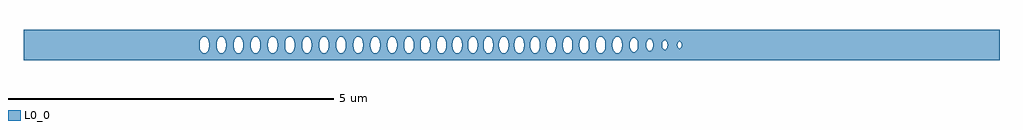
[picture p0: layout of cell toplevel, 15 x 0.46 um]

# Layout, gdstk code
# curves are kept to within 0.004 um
import gdstk
lib = gdstk.Library(unit=1e-6, precision=1e-09)
def P(c, l, *ps):  # polygons
    for p in ps: c.add(gdstk.Polygon(p, *l))
L0_0 = (0, 0)

toplevel = lib.new_cell('toplevel')
P(toplevel, L0_0, [(-4.269,0.016),(-4.263,0.056),(-4.239,0.106),(-4.209,0.128),(-4.177,0.126),(-4.177,0.231),(-7.5,0.231),(-7.5,-0.016),(-4.795,-0.016),(-4.792,0.04),(-4.781,0.077),(-4.753,0.118),(-4.726,0.13),(-4.698,0.124),(-4.67,0.095),(-4.652,0.048),(-4.648,-0.016),(-4.532,-0.016),(-4.529,0.04),(-4.518,0.077),(-4.49,0.118),(-4.463,0.13),(-4.435,0.124),(-4.411,0.101),(-4.393,0.063),(-4.384,0.008),(-4.389,-0.048),(-4.404,-0.089),(-4.427,-0.118),(-4.454,-0.13),(-4.481,-0.124),(-4.506,-0.101),(-4.521,-0.07),(-4.532,-0.016),(-4.648,-0.016),(-4.654,-0.056),(-4.67,-0.095),(-4.69,-0.118),(-4.716,-0.13),(-4.74,-0.126),(-4.765,-0.106),(-4.784,-0.07),(-4.795,-0.016),(-7.5,-0.016),(-7.5,-0.231),(-4.177,-0.231),(-4.177,-0.126),(-4.209,-0.128),(-4.243,-0.101),(-4.263,-0.056)],
  [(-4.125,-0.04),(-4.148,-0.101),(-4.177,-0.126),(-4.177,-0.231),(-3.47,-0.231),(-3.47,-0.07),(-3.481,-0.016),(-3.478,0.04),(-3.47,0.07),(-3.47,0.231),(-4.177,0.231),(-4.177,0.126),(-4.152,0.106),(-4.138,0.083),(-4.125,0.04),(-4.122,-0.008),(-4.007,-0.008),(-4.002,0.048),(-3.987,0.089),(-3.964,0.118),(-3.937,0.13),(-3.905,0.121),(-3.882,0.095),(-3.862,0.04),(-3.859,-0.008),(-3.744,-0.008),(-3.742,0.032),(-3.73,0.077),(-3.706,0.114),(-3.675,0.13),(-3.647,0.124),(-3.626,0.106),(-3.599,0.04),(-3.596,-0.016),(-3.607,-0.07),(-3.626,-0.106),(-3.647,-0.124),(-3.665,-0.13),(-3.693,-0.124),(-3.721,-0.095),(-3.737,-0.056),(-3.744,-0.008),(-3.859,-0.008),(-3.866,-0.056),(-3.882,-0.095),(-3.901,-0.118),(-3.928,-0.13),(-3.956,-0.124),(-3.98,-0.101),(-3.998,-0.063),(-4.007,-0.008),(-4.122,-0.008)],
  [(-2.955,0.016),(-2.939,0.083),(-2.925,0.106),(-2.904,0.124),(-2.886,0.13),(-2.863,0.126),(-2.838,0.106),(-2.828,0.089),(-2.828,0.231),(-3.47,0.231),(-3.47,0.07),(-3.451,0.106),(-3.43,0.124),(-3.412,0.13),(-3.384,0.124),(-3.367,0.11),(-3.347,0.077),(-3.335,0.032),(-3.334,-0.016),(-3.218,-0.016),(-3.215,0.04),(-3.204,0.077),(-3.176,0.118),(-3.149,0.13),(-3.121,0.124),(-3.097,0.101),(-3.079,0.063),(-3.07,0.008),(-3.075,-0.048),(-3.09,-0.089),(-3.113,-0.118),(-3.14,-0.13),(-3.167,-0.124),(-3.192,-0.101),(-3.207,-0.07),(-3.218,-0.016),(-3.334,-0.016),(-3.34,-0.056),(-3.356,-0.095),(-3.376,-0.118),(-3.402,-0.13),(-3.439,-0.118),(-3.47,-0.071),(-3.47,-0.231),(-2.828,-0.231),(-2.828,-0.089),(-2.85,-0.118),(-2.868,-0.128),(-2.891,-0.129),(-2.913,-0.118),(-2.936,-0.089),(-2.949,-0.056)],
  [(-2.811,-0.04),(-2.828,-0.089),(-2.828,-0.231),(-2.125,-0.231),(-2.125,-0.118),(-2.154,-0.077),(-2.168,-0.008),(-2.159,0.063),(-2.141,0.101),(-2.125,0.118),(-2.125,0.231),(-2.828,0.231),(-2.828,0.089),(-2.814,0.056),(-2.808,-0.008),(-2.693,-0.008),(-2.688,0.048),(-2.673,0.089),(-2.65,0.118),(-2.623,0.13),(-2.596,0.124),(-2.571,0.101),(-2.548,0.04),(-2.545,-0.008),(-2.43,-0.008),(-2.428,0.032),(-2.416,0.077),(-2.392,0.114),(-2.361,0.13),(-2.337,0.126),(-2.312,0.106),(-2.293,0.07),(-2.282,0.016),(-2.285,-0.04),(-2.296,-0.077),(-2.324,-0.118),(-2.351,-0.13),(-2.379,-0.124),(-2.407,-0.095),(-2.423,-0.056),(-2.43,-0.008),(-2.545,-0.008),(-2.552,-0.056),(-2.571,-0.101),(-2.591,-0.121),(-2.614,-0.13),(-2.642,-0.124),(-2.666,-0.101),(-2.684,-0.064),(-2.693,-0.008),(-2.808,-0.008)],
  [(-2.112,0.126),(-2.08,0.128),(-2.046,0.101),(-2.027,0.056),(-2.02,0),(-1.908,0),(-1.9,0.056),(-1.881,0.101),(-1.856,0.124),(-1.829,0.13),(-1.802,0.118),(-1.779,0.089),(-1.766,0.056),(-1.759,-0.008),(-1.651,-0.008),(-1.646,0.048),(-1.624,0.101),(-1.6,0.124),(-1.567,0.129),(-1.533,0.106),(-1.517,0.077),(-1.506,0.04),(-1.503,-0.016),(-1.514,-0.07),(-1.529,-0.101),(-1.554,-0.124),(-1.581,-0.13),(-1.608,-0.118),(-1.631,-0.089),(-1.646,-0.048),(-1.651,-0.008),(-1.759,-0.008),(-1.768,-0.063),(-1.786,-0.101),(-1.811,-0.124),(-1.838,-0.13),(-1.865,-0.118),(-1.891,-0.083),(-1.904,-0.04),(-1.908,0),(-2.02,0),(-2.027,-0.056),(-2.05,-0.106),(-2.066,-0.121),(-2.089,-0.13),(-2.108,-0.128),(-2.125,-0.118),(-2.125,-0.231),(-1.368,-0.231),(-1.368,-0.106),(-1.387,-0.07),(-1.398,-0.016),(-1.395,0.04),(-1.368,0.106),(-1.368,0.231),(-2.125,0.231),(-2.125,0.118)],
  [(-1.352,0.121),(-1.329,0.13),(-1.31,0.128),(-1.277,0.101),(-1.255,0.048),(-1.25,-0.008),(-1.151,-0.008),(-1.146,0.048),(-1.131,0.089),(-1.1,0.124),(-1.072,0.13),(-1.045,0.118),(-1.017,0.077),(-1.006,0.04),(-1.003,-0.016),(-0.907,-0.016),(-0.904,0.04),(-0.881,0.101),(-0.852,0.126),(-0.819,0.128),(-0.79,0.106),(-0.773,0.077),(-0.764,0.048),(-0.759,-0.008),(-0.764,-0.048),(-0.779,-0.089),(-0.802,-0.118),(-0.829,-0.13),(-0.856,-0.124),(-0.881,-0.101),(-0.896,-0.07),(-0.907,-0.016),(-1.003,-0.016),(-1.014,-0.07),(-1.029,-0.101),(-1.054,-0.124),(-1.081,-0.13),(-1.108,-0.118),(-1.131,-0.089),(-1.146,-0.048),(-1.151,-0.008),(-1.25,-0.008),(-1.264,-0.077),(-1.293,-0.118),(-1.31,-0.128),(-1.329,-0.13),(-1.352,-0.121),(-1.368,-0.106),(-1.368,-0.231),(-0.641,-0.231),(-0.641,-0.101),(-0.659,-0.063),(-0.668,-0.008),(-0.661,0.056),(-0.641,0.101),(-0.641,0.231),(-1.368,0.231),(-1.368,0.106)],
  [(-0.625,0.118),(-0.589,0.13),(-0.566,0.121),(-0.55,0.106),(-0.527,0.056),(-0.52,-0.008),(-0.43,-0.008),(-0.425,0.048),(-0.407,0.095),(-0.379,0.124),(-0.36,0.13),(-0.333,0.124),(-0.305,0.095),(-0.285,0.04),(-0.282,-0.008),(-0.193,-0.008),(-0.188,0.048),(-0.166,0.101),(-0.142,0.124),(-0.109,0.129),(-0.075,0.106),(-0.059,0.077),(-0.048,0.04),(-0.045,-0.016),(-0.056,-0.07),(-0.071,-0.101),(-0.096,-0.124),(-0.123,-0.13),(-0.15,-0.118),(-0.173,-0.089),(-0.188,-0.048),(-0.193,-0.008),(-0.282,-0.008),(-0.293,-0.07),(-0.312,-0.106),(-0.333,-0.124),(-0.36,-0.13),(-0.379,-0.124),(-0.407,-0.095),(-0.423,-0.056),(-0.43,-0.008),(-0.52,-0.008),(-0.531,-0.071),(-0.562,-0.118),(-0.58,-0.128),(-0.603,-0.129),(-0.621,-0.121),(-0.641,-0.101),(-0.641,-0.231),(0.053,-0.231),(0.053,-0.056),(0.046,-0.016),(0.053,0.056),(0.053,0.231),(-0.641,0.231),(-0.641,0.101)],
  [(0.06,0.077),(0.088,0.118),(0.115,0.13),(0.134,0.128),(0.16,0.11),(0.18,0.077),(0.194,0),(0.288,0),(0.295,0.056),(0.315,0.101),(0.344,0.126),(0.372,0.129),(0.394,0.118),(0.42,0.083),(0.43,0.056),(0.437,0),(0.43,-0.056),(0.42,-0.083),(0.394,-0.118),(0.367,-0.13),(0.34,-0.124),(0.315,-0.101),(0.295,-0.056),(0.288,0),(0.194,0),(0.18,-0.077),(0.16,-0.11),(0.134,-0.128),(0.115,-0.13),(0.088,-0.118),(0.069,-0.095),(0.053,-0.057),(0.053,-0.231),(0.629,-0.231),(0.629,-0.126),(0.597,-0.128),(0.567,-0.106),(0.548,-0.07),(0.537,-0.016),(0.54,0.04),(0.563,0.101),(0.597,0.128),(0.629,0.126),(0.629,0.231),(0.053,0.231),(0.053,0.056)],
  [(0.678,-0.056),(0.658,-0.101),(0.629,-0.126),(0.629,-0.231),(1.347,-0.231),(1.347,-0.124),(1.323,-0.101),(1.31,-0.077),(1.296,-0.008),(1.298,0.032),(1.31,0.077),(1.323,0.101),(1.347,0.124),(1.347,0.231),(0.629,0.231),(0.629,0.126),(0.654,0.106),(0.671,0.077),(0.68,0.048),(0.685,-0.008),(0.789,-0.008),(0.791,0.032),(0.803,0.077),(0.831,0.118),(0.858,0.13),(0.886,0.124),(0.914,0.095),(0.934,0.04),(0.937,-0.016),(1.043,-0.016),(1.046,0.04),(1.054,0.07),(1.073,0.106),(1.103,0.128),(1.131,0.128),(1.148,0.118),(1.171,0.089),(1.186,0.048),(1.191,-0.008),(1.182,-0.063),(1.164,-0.101),(1.131,-0.128),(1.098,-0.126),(1.069,-0.101),(1.054,-0.07),(1.043,-0.016),(0.937,-0.016),(0.926,-0.07),(0.914,-0.095),(0.895,-0.118),(0.868,-0.13),(0.84,-0.124),(0.819,-0.106),(0.8,-0.07),(0.789,-0.008),(0.685,-0.008)],
  [(2.07,0),(2.071,0.231),(1.347,0.231),(1.347,0.124),(1.384,0.128),(1.414,0.106),(1.437,0.056),(1.444,-0.008),(1.552,-0.008),(1.559,0.056),(1.572,0.089),(1.595,0.118),(1.622,0.13),(1.658,0.118),(1.684,0.083),(1.697,0.04),(1.7,-0.014),(1.817,-0.014),(1.82,0.035),(1.831,0.071),(1.846,0.095),(1.876,0.112),(1.896,0.109),(1.918,0.091),(1.932,0.066),(1.944,0.014),(1.941,-0.035),(1.932,-0.066),(1.918,-0.091),(1.896,-0.109),(1.868,-0.11),(1.846,-0.095),(1.829,-0.066),(1.817,-0.014),(1.7,-0.014),(1.689,-0.07),(1.674,-0.101),(1.654,-0.121),(1.631,-0.13),(1.604,-0.124),(1.579,-0.101),(1.561,-0.063),(1.552,-0.008),(1.444,-0.008),(1.433,-0.07),(1.414,-0.106),(1.384,-0.128),(1.347,-0.124),(1.347,-0.231),(2.071,-0.231)],
  [(2.074,0.035),(2.092,0.076),(2.11,0.091),(2.127,0.094),(2.146,0.085),(2.165,0.06),(2.177,0.012),(2.176,-0.014),(2.314,-0.014),(2.32,0.04),(2.331,0.061),(2.351,0.075),(2.37,0.072),(2.388,0.052),(2.399,-0.007),(2.55,-0.007),(2.556,0.034),(2.578,0.057),(2.596,0.052),(2.605,0.042),(2.615,-0.007),(2.605,-0.042),(2.586,-0.057),(2.572,-0.054),(2.56,-0.042),(2.55,-0.007),(2.399,-0.007),(2.388,-0.052),(2.362,-0.075),(2.343,-0.072),(2.331,-0.061),(2.314,-0.014),(2.176,-0.014),(2.163,-0.064),(2.146,-0.085),(2.127,-0.094),(2.11,-0.091),(2.092,-0.076),(2.071,-0.019),(2.071,-0.231),(7.5,-0.231),(7.5,0.231),(2.071,0.231)])

lib.write_gds('toplevel.gds')
